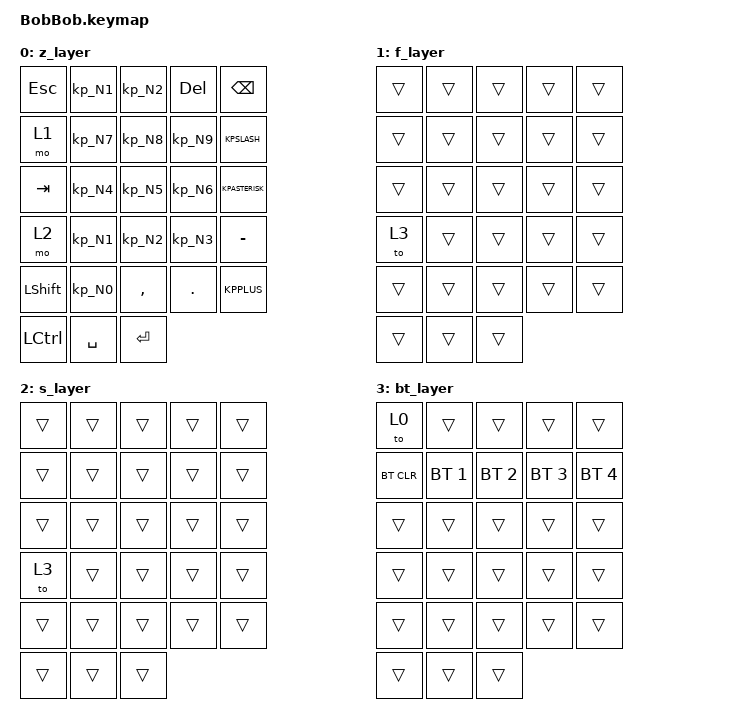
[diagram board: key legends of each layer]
#include <behaviors.dtsi>
#include <dt-bindings/zmk/keys.h>
#include <dt-bindings/zmk/bt.h>

/ {
    keymap {
        compatible = "zmk,keymap";

        z_layer {
            bindings = <
                 &kp ESC   &kp_N1    &kp_N2    &kp DEL   &kp BSPC  
                 &mo 1     &kp_N7    &kp_N8    &kp_N9    &kp KPSLASH  
                 &kp TAB   &kp_N4    &kp_N5    &kp_N6    &kp KPASTERISK  
                 &mo 2     &kp_N1    &kp_N2    &kp_N3    &kp MINUS  
                 &kp LSHFT &kp_N0    &kp COMMA &kp DOT   &kp KPPLUS  
                 &kp LCTRL &kp SPACE &kp ENTER
            >;
        };

        f_layer {
            bindings = <  
                 &trans  &trans  &trans  &trans  &trans  
                 &trans  &trans  &trans  &trans  &trans  
                 &trans  &trans  &trans  &trans  &trans  
                 &to 3   &trans  &trans  &trans  &trans  
                 &trans  &trans  &trans  &trans  &trans  
                 &trans  &trans  &trans  
            >;
        };

        s_layer {
            bindings = <
                 &trans  &trans  &trans  &trans  &trans  
                 &trans  &trans  &trans  &trans  &trans  
                 &trans  &trans  &trans  &trans  &trans  
                 &to 3   &trans  &trans  &trans  &trans  
                 &trans  &trans  &trans  &trans  &trans  
                 &trans  &trans  &trans  
            >;
        };

        bt_layer {
            bindings = <
                 &to 0    &trans  &trans  &trans  &trans  
                 &bt CLR  &bt 1   &bt 2   &bt 3   &bt 4  
                 &trans   &trans  &trans  &trans  &trans  
                 &trans   &trans  &trans  &trans  &trans  
                 &trans   &trans  &trans  &trans  &trans  
                 &trans   &trans  &trans
            >;
        };
    };
};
